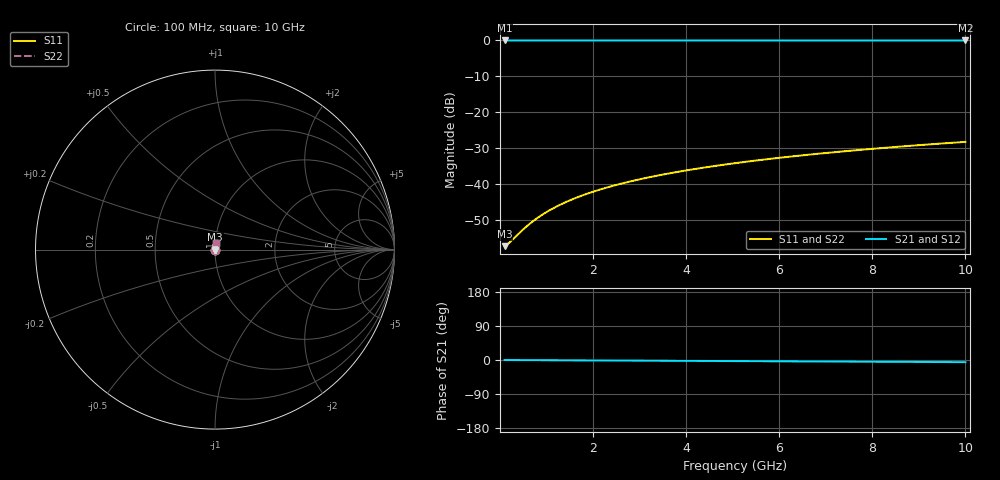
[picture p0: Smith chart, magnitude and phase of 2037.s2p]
# Hz S RI R 50.00
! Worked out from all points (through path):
!   100 points, 100 MHz to 10 GHz, reference 50 ohm
!   highest |S21| = -0.01 dB at 100 MHz (marker M1); lowest = 0.0 dB at 10 GHz (marker M2)
!   lowest |S11| = -57.1 dB at 100 MHz (marker M3), VSWR 1.00, Z = 50.1 + j0.0389 ohm
!   |S11| at or under -10 dB: start of sweep to end of sweep
!   |S22| runs from -57.1 to -28.2 dB; largest |S21 - S12| = 0
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1e8  0.00133 0.000388  0.9987 -0.000988  0.9987 -0.000988  0.00133 0.000388
2e8  0.00134 0.000777  0.9987 -0.00198  0.9987 -0.00198  0.00134 0.000777
5e8  0.00137 0.00194  0.9986 -0.00494  0.9986 -0.00494  0.00137 0.00194
6e8  0.00138 0.00233  0.9986 -0.00593  0.9986 -0.00593  0.00138 0.00233
7e8  0.00138 0.00272  0.9986 -0.00692  0.9986 -0.00692  0.00138 0.00272
9e8  0.0014 0.00349  0.9986 -0.00889  0.9986 -0.00889  0.0014 0.00349
1.1e9  0.00142 0.00427  0.9985 -0.0109  0.9985 -0.0109  0.00142 0.00427
1.3e9  0.00144 0.00505  0.9985 -0.0128  0.9985 -0.0128  0.00144 0.00505
1.5e9  0.00147 0.00582  0.9985 -0.0148  0.9985 -0.0148  0.00147 0.00582
1.8e9  0.00151 0.00699  0.9984 -0.0178  0.9984 -0.0178  0.00151 0.00699
2.1e9  0.00156 0.00815  0.9983 -0.0207  0.9983 -0.0207  0.00156 0.00815
2.5e9  0.00164 0.0097  0.9982 -0.0247  0.9982 -0.0247  0.00164 0.0097
2.9e9  0.00173 0.0113  0.9981 -0.0287  0.9981 -0.0287  0.00173 0.0113
3.4e9  0.00186 0.0132  0.9979 -0.0336  0.9979 -0.0336  0.00186 0.0132
3.8e9  0.00197 0.0147  0.9977 -0.0375  0.9977 -0.0375  0.00197 0.0147
4.2e9  0.0021 0.0163  0.9976 -0.0415  0.9976 -0.0415  0.0021 0.0163
5.1e9  0.00243 0.0198  0.9971 -0.0504  0.9971 -0.0504  0.00243 0.0198
5.9e9  0.00278 0.0229  0.9966 -0.0583  0.9966 -0.0583  0.00278 0.0229
6.7e9  0.00317 0.0259  0.996 -0.0662  0.996 -0.0662  0.00317 0.0259
7.5e9  0.00362 0.029  0.9953 -0.0741  0.9953 -0.0741  0.00362 0.029
8.4e9  0.00418 0.0325  0.9945 -0.083  0.9945 -0.083  0.00418 0.0325
1e10  0.00533 0.0386  0.9928 -0.0988  0.9928 -0.0988  0.00533 0.0386
